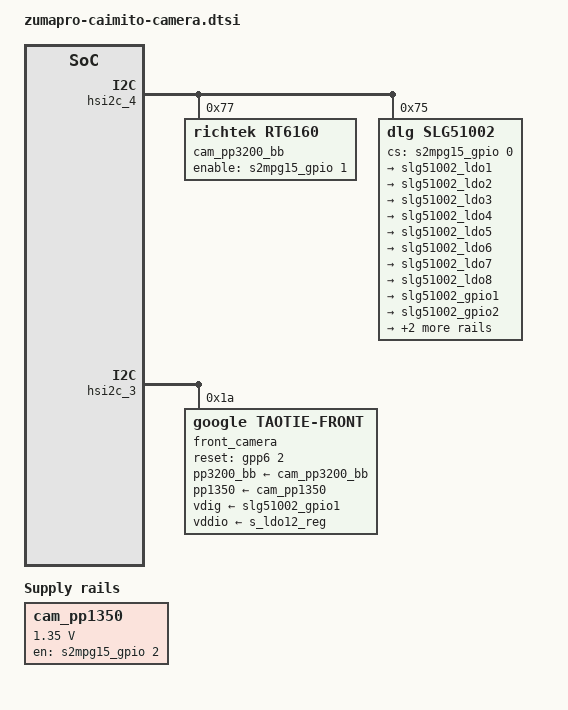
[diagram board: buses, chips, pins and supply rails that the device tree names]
// SPDX-License-Identifier: GPL-2.0-only
/*
 * Camera power tree and sensors shared by the caimito boards.
 *
 * Rails: PP3200_CAM_BB (rt6160) and PP1350_CAM feed an SLG51002 that
 * makes the per-sensor LDOs; VDDIO is the S2MPG15 LDO12S.  The front
 * sensor is the first one wired up; the others follow the same shape.
 */

#include <dt-bindings/clock/google,zuma.h>

/ {
	cam_pp1350: regulator-cam-pp1350 {
		compatible = "regulator-fixed";
		regulator-name = "PP1350_CAM";
		regulator-min-microvolt = <1350000>;
		regulator-max-microvolt = <1350000>;
		regulator-enable-ramp-delay = <2000>;
		enable-active-high;
		gpio = <&s2mpg15_gpio 2 GPIO_ACTIVE_HIGH>;
	};
};

&hsi2c_4 {
	cam_pp3200_bb: regulator@77 {
		compatible = "richtek,rt6160";
		reg = <0x77>;
		enable-gpios = <&s2mpg15_gpio 1 GPIO_ACTIVE_HIGH>;
		regulator-name = "PP3200_CAM_BB";
		regulator-min-microvolt = <3200000>;
		regulator-max-microvolt = <3200000>;
		regulator-enable-ramp-delay = <2000>;
	};

	slg51002: pmic@75 {
		compatible = "dlg,slg51002";
		reg = <0x75>;
		dlg,cs-gpios = <&s2mpg15_gpio 0 GPIO_ACTIVE_HIGH>;

		regulators {
			slg51002_ldo1: ldo1 {
				regulator-name = "cam_ldo1";
				vin1_2-supply = <&cam_pp3200_bb>;
			};
			slg51002_ldo2: ldo2 {
				regulator-name = "cam_ldo2";
				vin1_2-supply = <&cam_pp3200_bb>;
			};
			slg51002_ldo3: ldo3 {
				regulator-name = "cam_ldo3";
				vin3-supply = <&cam_pp3200_bb>;
			};
			slg51002_ldo4: ldo4 {
				regulator-name = "cam_ldo4";
				vin4-supply = <&cam_pp3200_bb>;
			};
			slg51002_ldo5: ldo5 {
				regulator-name = "cam_ldo5";
				vin5-supply = <&cam_pp3200_bb>;
			};
			slg51002_ldo6: ldo6 {
				regulator-name = "cam_ldo6";
				vin6-supply = <&cam_pp1350>;
			};
			slg51002_ldo7: ldo7 {
				regulator-name = "cam_ldo7";
				vin7-supply = <&cam_pp1350>;
			};
			slg51002_ldo8: ldo8 {
				regulator-name = "cam_ldo8";
			};
			slg51002_gpio1: gpio1 {
				regulator-name = "cam_gpio1";
			};
			slg51002_gpio2: gpio2 {
				regulator-name = "cam_gpio2";
			};
			slg51002_gpio3: gpio3 {
				regulator-name = "cam_gpio3";
			};
			slg51002_gpio4: gpio4 {
				regulator-name = "cam_gpio4";
			};
		};
	};
};

/* Front camera ("taotie", a Sony IMX part; model id still to be read) */
&hsi2c_3 {
	status = "okay";

	front_camera: camera@1a {
		compatible = "google,taotie-front";
		reg = <0x1a>;
		reset-gpios = <&gpp6 2 GPIO_ACTIVE_HIGH>;
		clocks = <&cmu_top CLK_GOUT_CMU_CIS_CLK1>;
		clock-names = "mclk";
		assigned-clocks = <&cmu_top CLK_GOUT_CMU_CIS_CLK1>;
		assigned-clock-rates = <24000000>;
		pinctrl-0 = <&sensor_mclk2_fn>;
		pinctrl-1 = <&sensor_mclk2_out>;
		pinctrl-names = "default", "sleep";
		/* power-up order from the vendor lwis sequence */
		pp3200_bb-supply = <&cam_pp3200_bb>;
		pp1350-supply = <&cam_pp1350>;
		vdig-supply = <&slg51002_gpio1>;
		vddio-supply = <&s_ldo12_reg>;
		af-supply = <&slg51002_gpio2>;
	};
};
